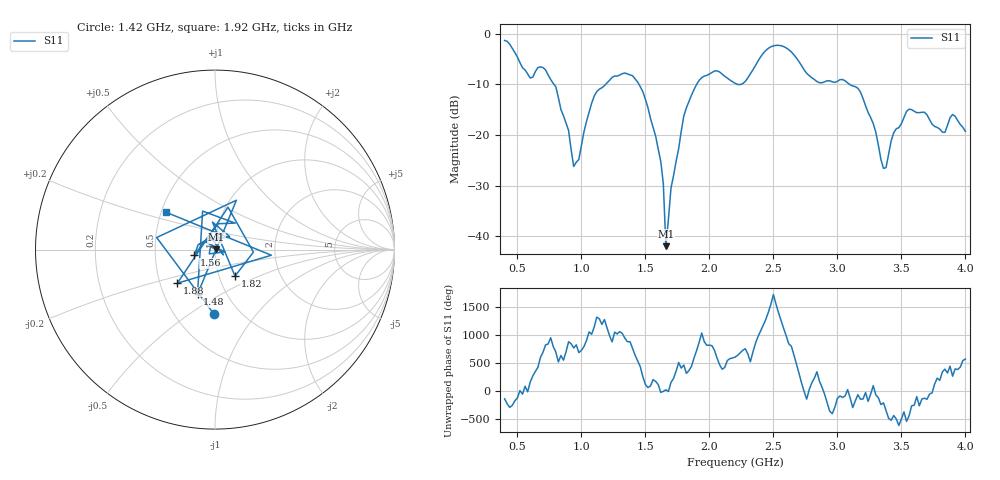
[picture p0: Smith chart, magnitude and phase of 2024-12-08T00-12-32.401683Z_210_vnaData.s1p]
!Created with skrf (http://scikit-rf.org).
# Hz S RI R 50.0
!freq ReS11 ImS11
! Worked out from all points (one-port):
!   181 points, 400 MHz to 4 GHz, reference 50 ohm
!   lowest |S11| = -41.9 dB at 1.66 GHz (marker M1), VSWR 1.02, Z = 50.8 + j0.196 ohm
!   |S11| at or under -10 dB: 785.5 MHz to 1.19 GHz (404.2 MHz wide, 40.9 % of centre); 1.449 GHz to 1.9 GHz (451 MHz wide, 26.9 % of centre); 3.095 GHz to end of sweep (the widest 3 of 4)
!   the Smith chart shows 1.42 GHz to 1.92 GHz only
!   S11 on the Smith chart (normalised r, x): 1.42 GHz: 0.76, -0.63; 1.48 GHz: 0.73, -0.39; 1.56 GHz: 0.79, -0.05; 1.82 GHz: 1.19, -0.36; 1.88 GHz: 0.61, -0.25; 1.92 GHz: 0.53, +0.25
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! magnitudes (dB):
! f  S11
! 400 MHz  -1.3
! 600 MHz  -8.8
! 720 MHz  -7.1
! 860 MHz  -16.2
! 940 MHz  -26.2
! 1.1 GHz  -12.3
! 1.3 GHz  -8.2
! 1.42 GHz  -8.9
! 1.48 GHz  -11.5
! 1.56 GHz  -18.5
! 1.64 GHz  -29.6
! 1.66 GHz  -41.9
! 1.7 GHz  -30.5
! 1.76 GHz  -22.7
! 1.82 GHz  -14.6
! 1.88 GHz  -11.0
! 1.92 GHz  -9.2
! 2.2 GHz  -9.8
! 2.48 GHz  -2.6
! 2.66 GHz  -4.2
! 2.84 GHz  -9.4
! 3.1 GHz  -10.1
! 3.28 GHz  -17.7
! 3.36 GHz  -26.6
! 3.44 GHz  -19.6
! 3.56 GHz  -14.9
! 3.9 GHz  -15.9
! 4 GHz  -19.3
